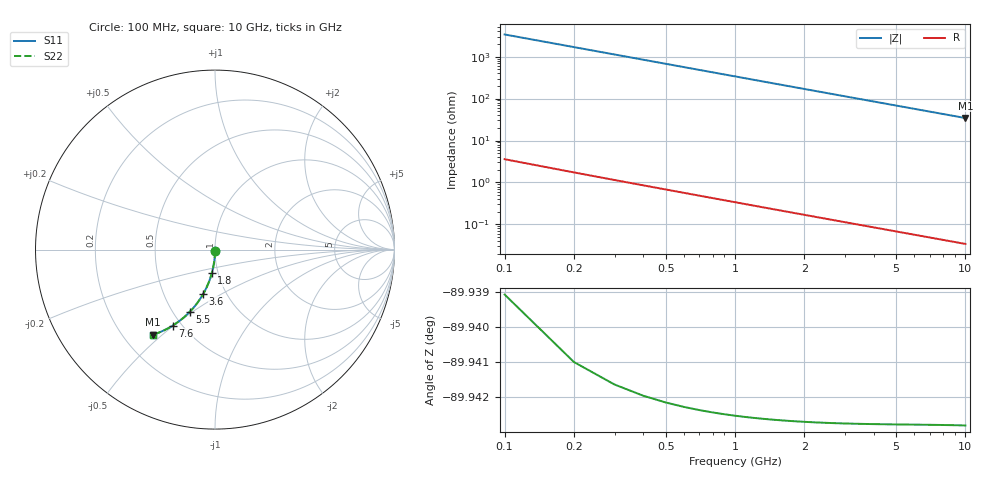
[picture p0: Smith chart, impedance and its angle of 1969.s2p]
# Hz S RI R 50.00
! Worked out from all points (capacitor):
!   100 points, 100 MHz to 10 GHz, reference 50 ohm
!   read as one part in shunt: C = 472 fF near 100 MHz
!   lowest |Z| = 34.3 ohm at 10 GHz (marker M1)
!   S11 on the Smith chart (normalised r, x): 100 MHz: 1.00, -0.01; 1.8 GHz: 0.93, -0.25; 3.6 GHz: 0.78, -0.41; 5.5 GHz: 0.61, -0.49; 7.6 GHz: 0.45, -0.50; 10 GHz: 0.32, -0.47
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1e8  -6.16e-05 -0.00741  0.9999 -0.00743  0.9999 -0.00743  -6.16e-05 -0.00741
2e8  -0.000234 -0.0148  0.9998 -0.0149  0.9998 -0.0149  -0.000234 -0.0148
3e8  -0.000516 -0.0222  0.9995 -0.0223  0.9995 -0.0223  -0.000516 -0.0222
4e8  -0.000908 -0.0296  0.9991 -0.0297  0.9991 -0.0297  -0.000908 -0.0296
5e8  -0.00141 -0.037  0.9986 -0.0371  0.9986 -0.0371  -0.00141 -0.037
6e8  -0.00202 -0.0444  0.998 -0.0444  0.998 -0.0444  -0.00202 -0.0444
8e8  -0.00356 -0.059  0.9964 -0.0591  0.9964 -0.0591  -0.00356 -0.059
1.1e9  -0.00667 -0.0808  0.9933 -0.081  0.9933 -0.081  -0.00667 -0.0808
1.4e9  -0.0107 -0.1024  0.9893 -0.1026  0.9893 -0.1026  -0.0107 -0.1024
1.8e9  -0.0175 -0.1306  0.9825 -0.1308  0.9825 -0.1308  -0.0175 -0.1306
2.1e9  -0.0236 -0.1513  0.9764 -0.1516  0.9764 -0.1516  -0.0236 -0.1513
2.5e9  -0.0331 -0.1781  0.9669 -0.1785  0.9669 -0.1785  -0.0331 -0.1781
2.9e9  -0.0439 -0.2041  0.9561 -0.2045  0.9561 -0.2045  -0.0439 -0.2041
3.4e9  -0.0591 -0.2351  0.9409 -0.2357  0.9409 -0.2357  -0.0591 -0.2351
3.6e9  -0.0658 -0.2471  0.9342 -0.2476  0.9342 -0.2476  -0.0658 -0.2471
4.3e9  -0.0909 -0.2867  0.9091 -0.2874  0.9091 -0.2874  -0.0909 -0.2867
5.1e9  -0.123 -0.3275  0.877 -0.3283  0.877 -0.3283  -0.123 -0.3275
5.5e9  -0.14 -0.3461  0.86 -0.3469  0.86 -0.3469  -0.14 -0.3461
6.7e9  -0.1939 -0.3943  0.8061 -0.3954  0.8061 -0.3954  -0.1939 -0.3943
7.6e9  -0.2359 -0.4234  0.7641 -0.4246  0.7641 -0.4246  -0.2359 -0.4234
8.4e9  -0.2734 -0.4446  0.7266 -0.4459  0.7266 -0.4459  -0.2734 -0.4446
1e10  -0.3471 -0.4748  0.6529 -0.4763  0.6529 -0.4763  -0.3471 -0.4748
